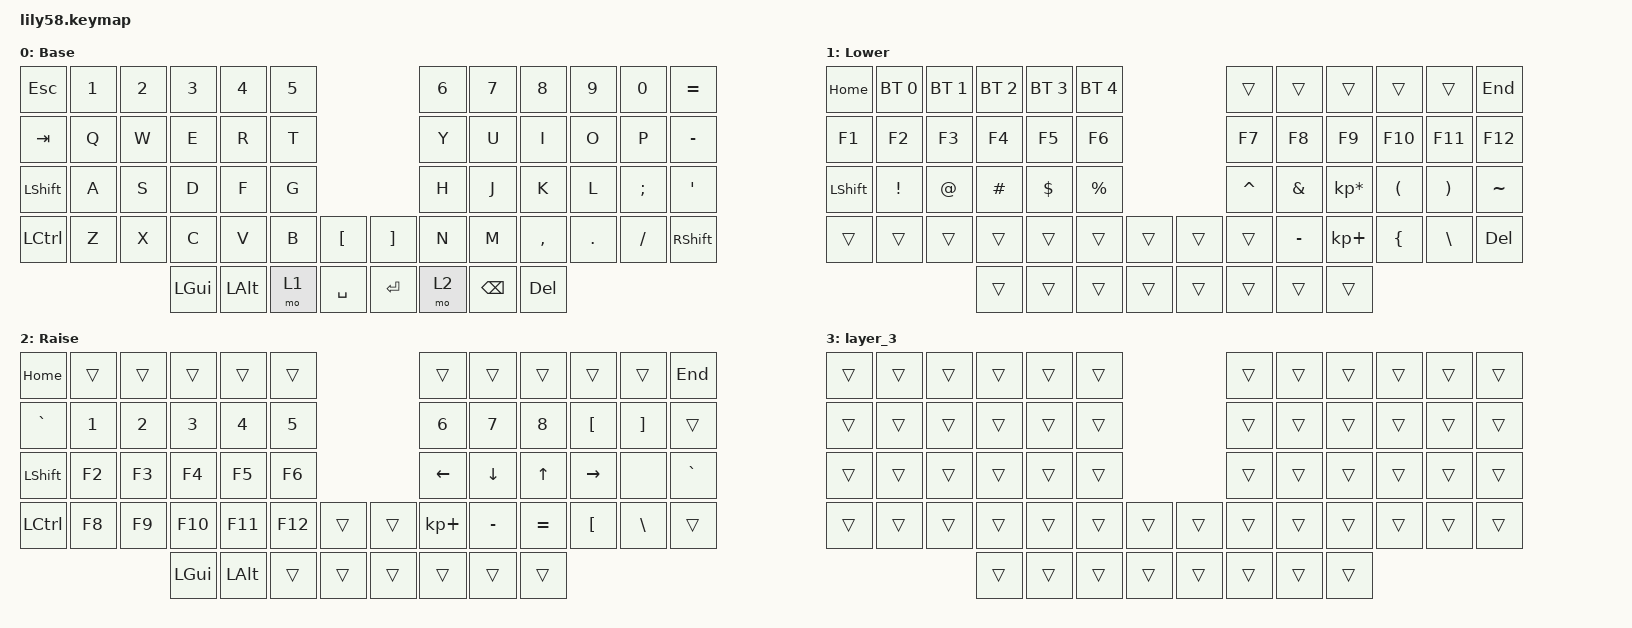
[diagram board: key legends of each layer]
/*
 * Copyright (c) 2020 The ZMK Contributors
 *
 * SPDX-License-Identifier: MIT
 */

#include <behaviors.dtsi>
#include <dt-bindings/zmk/bt.h>
#include <dt-bindings/zmk/keys.h>

/ {
    keymap {
        compatible = "zmk,keymap";

        default_layer {
            // ------------------------------------------------------------------------------------------------------------
            // |  ESC  |  1  |  2  |  3   |  4   |  5   |                   |  6   |  7    |  8    |  9   |   0   |   `   |
            // |  TAB  |  Q  |  W  |  E   |  R   |  T   |                   |  Y   |  U    |  I    |  O   |   P   |   -   |
            // |  CTRL |  A  |  S  |  D   |  F   |  G   |                   |  H   |  J    |  K    |  L   |   ;   |   '   |
            // | SHIFT |  Z  |  X  |  C   |  V   |  B   |   "["  |  |  "]"  |  N   |  M    |  ,    |  .   |   /   | SHIFT |
            //                     | ALT  | GUI  | LOWER|  SPACE |  | ENTER | RAISE| BSPC  | GUI   |

            display-name = "Base";
            bindings = <
&kp ESC           &kp N1  &kp N2  &kp N3        &kp N4        &kp N5                         &kp N6  &kp N7    &kp N8      &kp N9   &kp N0    &kp EQUAL
&kp TAB           &kp Q   &kp W   &kp E         &kp R         &kp T                          &kp Y   &kp U     &kp I       &kp O    &kp P     &kp MINUS
&kp LEFT_SHIFT    &kp A   &kp S   &kp D         &kp F         &kp G                          &kp H   &kp J     &kp K       &kp L    &kp SEMI  &kp SQT
&kp LEFT_CONTROL  &kp Z   &kp X   &kp C         &kp V         &kp B   &kp LBKT     &kp RBKT  &kp N   &kp M     &kp COMMA   &kp DOT  &kp FSLH  &kp RSHFT
                                  &kp LEFT_GUI  &kp LEFT_ALT  &mo 1   &kp SPACE    &kp RET   &mo 2   &kp BSPC  &kp DELETE
            >;
        };

        lower_layer {
            // ------------------------------------------------------------------------------------------------------------
            // | BTCLR | BT1 | BT2 |  BT3 |  BT4 |  BT5 |                   |      |       |       |      |       |       |
            // |  F1   |  F2 |  F3 |  F4  |  F5  |  F6  |                   |  F7  |  F8   |  F9   |  F10 |  F11  |  F12  |
            // |   `   |  !  |  @  |  #   |  $   |  %   |                   |  ^   |  &    |  *    |  (   |   )   |   ~   |
            // |       |     |     |      |      |      |        |  |       |      |  _    |  +    |  {   |   }   |  "|"  |
            //                     |      |      |      |        |  |       |      |       |       |

            display-name = "Lower";
            bindings = <
&kp HOME        &bt BT_SEL 0  &bt BT_SEL 1  &bt BT_SEL 2  &bt BT_SEL 3  &bt BT_SEL 4                    &trans     &trans     &trans           &trans    &trans         &kp END
&kp F1          &kp F2        &kp F3        &kp F4        &kp F5        &kp F6                          &kp F7     &kp F8     &kp F9           &kp F10   &kp F11        &kp F12
&kp LEFT_SHIFT  &kp EXCL      &kp AT        &kp HASH      &kp DOLLAR    &kp PRCNT                       &kp CARET  &kp AMPS   &kp KP_MULTIPLY  &kp LPAR  &kp RPAR       &kp TILDE
&trans          &trans        &trans        &trans        &trans        &trans        &trans    &trans  &trans     &kp MINUS  &kp KP_PLUS      &kp LBRC  &kp BACKSLASH  &kp DEL
                                            &trans        &trans        &trans        &trans    &trans  &trans     &trans     &trans
            >;
        };

        raise_layer {
            // ------------------------------------------------------------------------------------------------------------
            // |       |     |     |      |      |      |                   |      |       |       |      |       |       |
            // |   `   |  1  |  2  |  3   |  4   |  5   |                   |  6   |   7   |   8   |  9   |   0   |       |
            // |   F1  |  F2 |  F3 |  F4  |  F5  |  F6  |                   |      |   <-  |   v   |  ^   |  ->   |       |
            // |   F7  |  F8 |  F9 |  F10 |  F11 |  F12 |        |  |       |  +   |   -   |   =   |  [   |   ]   |   \   |
            //                     |      |      |      |        |  |       |      |       |       |

            display-name = "Raise";
            bindings = <
&kp HOME        &trans  &trans  &trans    &trans    &trans                     &trans          &trans          &trans        &trans            &trans             &kp END
&kp GRAVE       &kp N1  &kp N2  &kp N3    &kp N4    &kp N5                     &kp N6          &kp N7          &kp N8        &kp LEFT_BRACKET  &kp RIGHT_BRACKET  &trans
&kp LEFT_SHIFT  &kp F2  &kp F3  &kp F4    &kp F5    &kp F6                     &kp LEFT_ARROW  &kp DOWN_ARROW  &kp UP_ARROW  &kp RIGHT         &none              &kp GRAVE
&kp LCTRL       &kp F8  &kp F9  &kp F10   &kp F11   &kp F12  &trans    &trans  &kp KP_PLUS     &kp MINUS       &kp EQUAL     &kp LBKT          &kp BACKSLASH      &trans
                                &kp LGUI  &kp LALT  &trans   &trans    &trans  &trans          &trans          &trans
            >;
        };

        layer_3 {
            bindings = <
&trans  &trans  &trans  &trans  &trans  &trans                    &trans  &trans  &trans  &trans  &trans  &trans
&trans  &trans  &trans  &trans  &trans  &trans                    &trans  &trans  &trans  &trans  &trans  &trans
&trans  &trans  &trans  &trans  &trans  &trans                    &trans  &trans  &trans  &trans  &trans  &trans
&trans  &trans  &trans  &trans  &trans  &trans  &trans    &trans  &trans  &trans  &trans  &trans  &trans  &trans
                        &trans  &trans  &trans  &trans    &trans  &trans  &trans  &trans
            >;
        };
    };
};
